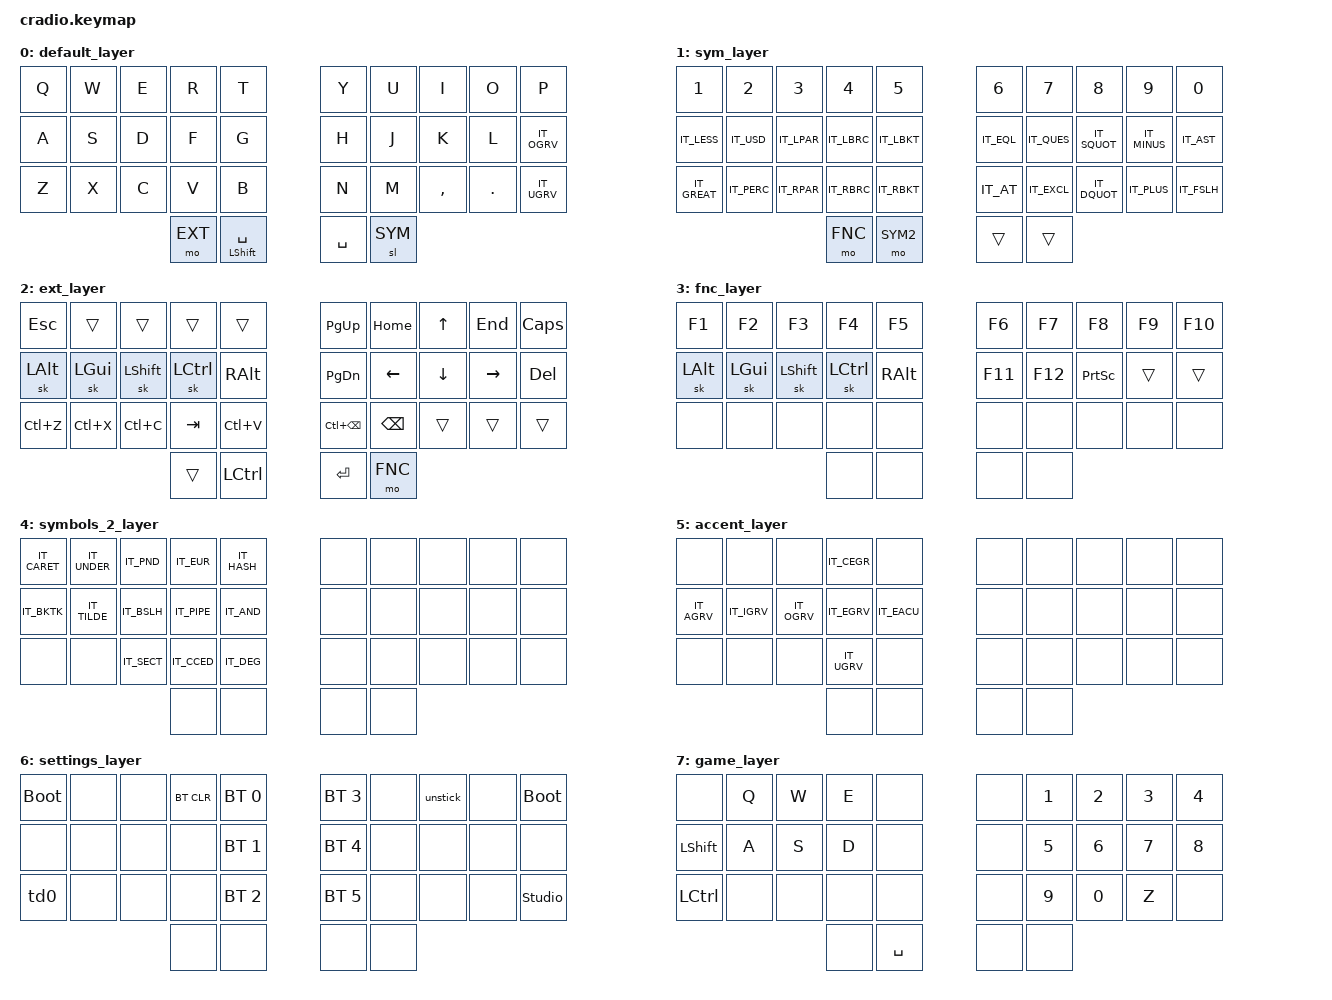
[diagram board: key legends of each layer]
/*
 * Copyright (c) 2020 The ZMK Contributors
 *
 * SPDX-License-Identifier: MIT
 */

#include <behaviors.dtsi>
#include <dt-bindings/zmk/keys.h>
#include <dt-bindings/zmk/bt.h>
#include "keymap_italian.h"

// Layer definitions
    #define BASE 0
    #define SYM 1
    #define EXT 2
    #define FNC 3
    #define SYM2 4
    #define ACCENT 5
	#define SETTINGS 6
	#define GAME 7
// -----------------

&mt {
   //  flavor = "tap-preferred";
   // tapping_term_ms = <200>;
};

&sk {
    ignore-modifiers;
};

&soft_off {
    hold-time-ms = <1000>; // Only turn off it the key is held for 1 seconds or longer.
};

/ {
		macros {
				// sometimes my device thinks a modifier is being held down
				// pressing all modifiers fixes it.
				unstick: unstick {
					label = "ZM_unstick";
					compatible = "zmk,behavior-macro";
					#binding-cells = <0>;
					bindings
						= <&kp LSHIFT &kp RSHIFT &kp LCTRL &kp RCTRL &kp LALT &kp RALT &kp LGUI &kp RGUI>;
				};
		};

    combos {
        compatible = "zmk,combos";
				// both right thumb keys
        combo_accent {
            timeout-ms = <300>;
            key-positions = <32 33>;
            bindings = <&mo ACCENT>;
        };
				// internal-left & external-right thumb keys
		combo_sym2 {
				timeout-ms = <200>;
				key-positions = <31 33>;
				bindings = <&mo SYM2>;
		};
		// both left thumb keys
		combo_settings {
				timeout-ms = <300>;
				key-positions = <30 31>;
				bindings = <&mo SETTINGS>;
		};
		
		combo_game {
			timeout-ms = <300>;
			key-positions = <30 31 32 33>;
			bindings = <&tog GAME>;
		};
    };

	behaviors {
        td0: tap_dance_0 { // Soft Shutdown Keyboard 
            compatible = "zmk,behavior-tap-dance";
            #binding-cells = <0>;
            tapping-term-ms = <200>;
            bindings = <&soft_off>;
        };
    };
	

    keymap {
            compatible = "zmk,keymap";

        // Base alpha layer
       		default_layer {
		bindings = <
		&kp Q &kp W &kp E &kp R &kp T           &kp Y &kp U  &kp I     &kp O   &kp P 
		&kp A &kp S &kp D &kp F &kp G           &kp H &kp J  &kp K     &kp L &kp IT_OGRV
		&kp Z &kp X &kp C &kp V &kp B           &kp N &kp M  &kp COMMA &kp DOT &kp IT_UGRV
             &mo EXT &mt LSHIFT SPACE           &kp SPACE &sl SYM
		>;
		};

        // Numbers and high frequency symbols
       		sym_layer {
		bindings = <
		&kp N1 &kp N2 &kp N3 &kp N4 &kp N5		                                    &kp N6 &kp N7 &kp N8 &kp N9 &kp N0
		&kp IT_LESS &kp IT_USD &kp IT_LPAR &kp IT_LBRC &kp IT_LBKT  &kp IT_EQL &kp IT_QUES &kp IT_SQUOT &kp IT_MINUS &kp IT_AST
		&kp IT_GREAT &kp IT_PERC &kp IT_RPAR &kp IT_RBRC &kp IT_RBKT 	&kp IT_AT &kp IT_EXCL &kp IT_DQUOT &kp IT_PLUS &kp IT_FSLH
					                                        &mo FNC  &mo SYM2       &trans &trans
		>;
		};

        // Main modifiers and arrow keys
		    ext_layer {
		bindings = <
		&kp ESC  &trans &trans  &trans  &trans    			        &kp PG_UP  &kp HOME &kp UP &kp END &kp CAPS
		&sk LALT &sk LGUI  &sk LSHIFT  &sk LCTRL  &kp RALT 			&kp PG_DN &kp LEFT  &kp DOWN  &kp RIGHT   &kp DEL
		&kp LC(Z)  &kp LC(X) &kp LC(C) &kp TAB   &kp LC(V)          &kp LC(BSPC) &kp BSPC &trans &trans  &trans
					                        &trans &kp LCTRL    &kp ENTER  &mo FNC 
		>;
		};

        // Function keys with modifiers
       		fnc_layer {
		bindings = <
		&kp F1 &kp F2 &kp F3 &kp F4 &kp F5                  &kp F6 &kp F7 &kp F8 &kp F9 &kp F10 
		&sk LALT &sk LGUI &sk LSHIFT &sk LCTRL &kp RALT     &kp F11 &kp F12  &kp PRINTSCREEN &trans &trans
		&none &none &none &none &none				          &none &none &none &none &none 
          				           &none &none              &none &none  
		>;
		};

        // Low frequency symbols.
       		symbols_2_layer {
		bindings = <
		&kp IT_CARET &kp IT_UNDER &kp IT_PND &kp IT_EUR &kp IT_HASH         &none &none &none &none &none 
		&kp IT_BKTK &kp IT_TILDE &kp IT_BSLH &kp IT_PIPE &kp IT_AND         &none &none &none &none &none
		&none 			&none 			 &kp IT_SECT &kp IT_CCED &kp IT_DEG				  &none &none &none &none &none
          				           												&none &none        	&none &none 
		>;
		};

        // Used to type regional accents.
       		accent_layer {
		bindings = <
		&none &none &none &kp IT_CEGR &none                         &none &none &none &none &none 
		&kp IT_AGRV &kp IT_IGRV &kp IT_OGRV &kp IT_EGRV &kp IT_EACU &none &none &none &none &none
		&none &none &none &kp IT_UGRV &none                         &none &none &none &none &none
          				     &none &none                         &none &none 
		>;
		};

        // Used to change the keyboard's settings and shutdown on Tap Dance
       		settings_layer {
		bindings = <
		&bootloader &none &none &bt BT_CLR &bt BT_SEL 0               	&bt BT_SEL 3 &none &unstick &none &bootloader 
		&none &none &none &none	&bt BT_SEL 1 						&bt BT_SEL 4 &none &none &none &none
		&td0 &none &none &none	&bt BT_SEL 2               			&bt BT_SEL 5 &none &none &none &studio_unlock
										&none &none                		&none &none 
		>;
		};

		// Used to play WASD Games
       		game_layer {
		bindings = <
		&none &kp Q &kp W &kp E &none	            &none &kp N1 &kp N2 &kp N3 &kp N4
		&kp LSHIFT &kp A &kp S &kp D &none 			&none &kp N5 &kp N6 &kp N7 &kp N8
		&kp LCTRL &none &none &none  &none               &none &kp N9 &kp N0 &kp Z &none
						&none &kp SPACE             &none &none 
		>;
		};
        
	};
};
